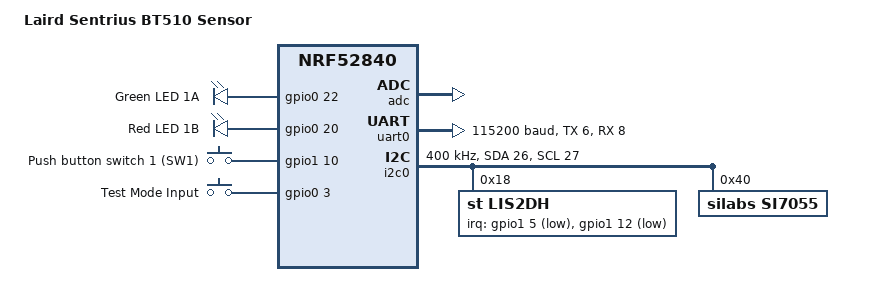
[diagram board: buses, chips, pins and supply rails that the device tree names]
/*
 * Copyright (c) 2020 Laird Connectivity
 *
 * SPDX-License-Identifier: Apache-2.0
 */

/dts-v1/;
#include <nordic/nrf52840_qiaa.dtsi>

/ {
	model = "Laird Sentrius BT510 Sensor";
	compatible = "nordic,pca10056-dk";

	chosen {
		zephyr,console = &uart0;
		zephyr,shell-uart = &uart0;
		zephyr,uart-mcumgr = &uart0;
		zephyr,bt-mon-uart = &uart0;
		zephyr,bt-c2h-uart = &uart0;
		zephyr,sram = &sram0;
		zephyr,flash = &flash0;
		zephyr,code-partition = &slot0_partition;
	};

	leds {
		compatible = "gpio-leds";
		led1a: led_1a {
			gpios = <&gpio0 22 GPIO_ACTIVE_HIGH>;
			label = "Green LED 1A";
		};
		led1b: led_1b {
			gpios = <&gpio0 20 GPIO_ACTIVE_HIGH>;
			label = "Red LED 1B";
		};
	};

	buttons {
		compatible = "gpio-keys";
		button1: button_1 {
			gpios = <&gpio1 10 GPIO_PULL_UP>;
			label = "Push button switch 1 (SW1)";
		};
	};

	gpio {
		compatible = "gpio-keys";
		tminput: tm_input {
			gpios = <&gpio0 3 GPIO_PULL_UP>;
			label = "Test Mode Input";
		};
	};

	/* These aliases are provided for compatibility with samples */
	aliases {
		led0 = &led1a;
		led1 = &led1b;
		sw0 = &button1;
		tminput = &tminput;
	};
};

&adc {
	status = "okay";
};

&gpiote {
	status = "okay";
};

&gpio0 {
	status = "okay";
};

&gpio1 {
	status = "okay";
};

&uart0 {
	compatible = "nordic,nrf-uart";
	current-speed = <115200>;
	status = "okay";
	tx-pin = <6>;
	rx-pin = <8>;
	rts-pin = <5>;
	cts-pin = <7>;
};

&i2c0 {
	compatible = "nordic,nrf-twi";
	status = "okay";

	clock-frequency = <I2C_BITRATE_FAST>;
	sda-pin = <26>;
	scl-pin = <27>;

	/* embedded LIS2DH accelerometer  */
	lis2dh@18 {
		compatible = "st,lis2dh";
		reg = <0x18>;
		irq-gpios = <&gpio1 5 (GPIO_PULL_UP | GPIO_ACTIVE_LOW)>, <&gpio1 12 (GPIO_PULL_UP | GPIO_ACTIVE_LOW)>;
		label = "lis2dh";
	};	

    si7055@40 {
        compatible = "silabs,si7055";
        reg = <0x40>;
        label = "SI7055";
    };
};


&flash0 {
	/*
	 * For more information, see:
	 * http://docs.zephyrproject.org/latest/guides/dts/index.html#flash-partitions
	 */
	partitions {
		compatible = "fixed-partitions";
		#address-cells = <1>;
		#size-cells = <1>;

		boot_partition: partition@0 {
			label = "mcuboot";
			reg = <0x000000000 0x0000C000>;
		};
		slot0_partition: partition@c000 {
			label = "image-0";
			reg = <0x0000C000 0x0005f000>;
		};
		slot1_partition: partition@6b000 {
			label = "image-1";
			reg = <0x0006b000 0x0005f000>;
		};
		scratch_partition: partition@ca000 {
			label = "image-scratch";
			reg = <0x000ca000 0x00018000>;
		};

		/*
		 * The flash starting at 0x000e2000 and ending at
		 * 0x000fffff is reserved for use by the application.
		 */

		log_partition: partition@e2000 {
			label = "log";
			reg = <0x000e2000 0x00016000>;
		};

		/*
		 * Storage partition will be used by FCB/LittleFS/NVS
		 * if enabled.
		 */
		lfs_storage_partition: partition@f8000 {
			label = "lfs_storage";
			reg = <0x000f8000 0x00008000>;
		};
	};
};
